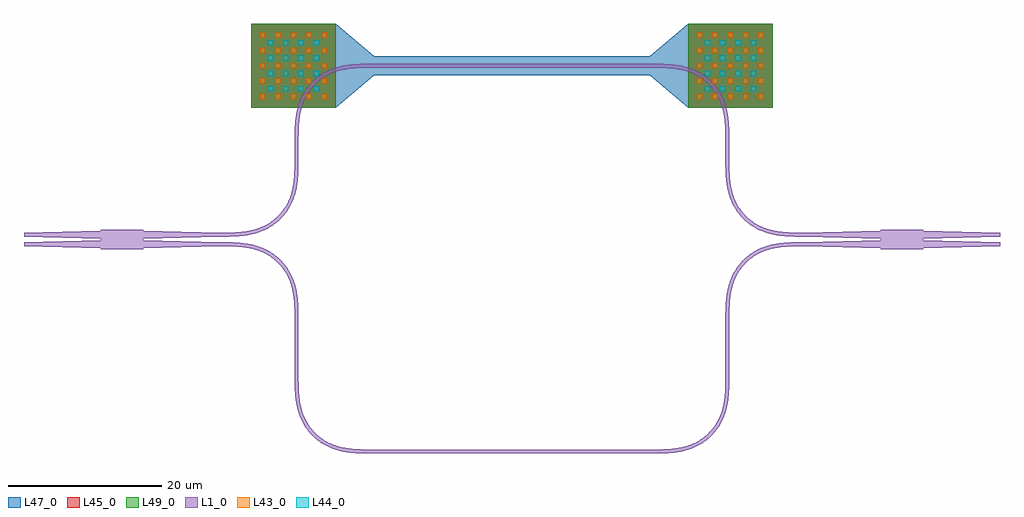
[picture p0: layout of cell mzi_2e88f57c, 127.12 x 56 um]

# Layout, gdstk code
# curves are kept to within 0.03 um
from math import pi, radians
import gdstk
lib = gdstk.Library(unit=1e-6, precision=1e-09)
def R(c, l, rs):  # rectangles x0, y0, x1, y1
    for r in rs: c.add(gdstk.rectangle(r[:2], r[2:], *l))
def P(c, l, *ps):  # polygons
    for p in ps: c.add(gdstk.Polygon(p, *l))
L1_0 = (1, 0)
L43_0 = (43, 0)
L44_0 = (44, 0)
L45_0 = (45, 0)
L47_0 = (47, 0)
L49_0 = (49, 0)

mmi2x2 = lib.new_cell('mmi2x2')
R(mmi2x2, L1_0, [(0,-1.25,5.5,1.25)])
P(mmi2x2, L1_0, [(-10,-0.375),(0,-0.125),(0,-1.125),(-10,-0.875)],
  [(-10,0.875),(0,1.125),(0,0.125),(-10,0.375)],
  [(15.5,0.375),(5.5,0.125),(5.5,1.125),(15.5,0.875)],
  [(15.5,-0.875),(5.5,-1.125),(5.5,-0.125),(15.5,-0.375)])

bend_euler = lib.new_cell('bend_euler')
P(bend_euler, L1_0, [(0,-0.25),(1.532,-0.235),(2.795,-0.158),(3.776,-0.023),(4.746,0.203),(5.688,0.543),(6.455,0.934),(7.285,1.5),(7.928,2.072),(8.5,2.715),(9.066,3.545),(9.457,4.312),(9.797,5.254),(10.023,6.224),(10.158,7.205),(10.235,8.468),(10.25,10),(9.75,10),(9.731,8.345),(9.647,7.119),(9.48,6.048),(9.194,5.01),(8.887,4.269),(8.495,3.569),(8.024,2.921),(7.575,2.425),(7.079,1.976),(6.431,1.505),(5.731,1.113),(4.99,0.806),(3.952,0.52),(2.881,0.353),(1.655,0.269),(0,0.25)])

straight_length7p0 = lib.new_cell('straight_length7p0')
R(straight_length7p0, L1_0, [(0,-0.25,7,0.25)])

straight_length0p1 = lib.new_cell('straight_length0p1')
R(straight_length0p1, L1_0, [(0,-0.25,0.1,0.25)])

straight_length2p0 = lib.new_cell('straight_length2p0')
R(straight_length2p0, L1_0, [(0,-0.25,2,0.25)])

straight_add_pinsfalse_l = lib.new_cell('straight_add_pinsFalse_length0p1')
R(straight_add_pinsfalse_l, L1_0, [(0,-0.25,0.1,0.25)])

straight_6e0386c1 = lib.new_cell('straight_6e0386c1')
R(straight_6e0386c1, L1_0, [(0,-0.25,17.95,0.25)])
R(straight_6e0386c1, L47_0, [(0,-1.25,17.95,1.25)])

component_sequence_afa0a = lib.new_cell('component_sequence_afa0a7fe')
component_sequence_afa0a.add(gdstk.Reference(straight_add_pinsfalse_l, (0,0)))
component_sequence_afa0a.add(gdstk.Reference(straight_6e0386c1, (0.1,0)))
component_sequence_afa0a.add(gdstk.Reference(straight_6e0386c1, (18.05,0)))
component_sequence_afa0a.add(gdstk.Reference(straight_add_pinsfalse_l, (36,0)))

compass_d8224c77 = lib.new_cell('compass_d8224c77')
R(compass_d8224c77, L47_0, [(-5.5,-5.5,5.5,5.5)])

compass_layerm2_size11p0 = lib.new_cell('compass_layerM2_size11p0__11p0')
R(compass_layerm2_size11p0, L45_0, [(-5.5,-5.5,5.5,5.5)])

compass_layermtop_size11 = lib.new_cell('compass_layerMTOP_size11p0__11p0')
R(compass_layermtop_size11, L49_0, [(-5.5,-5.5,5.5,5.5)])

via_enclosure2_layervia1 = lib.new_cell('via_enclosure2_layerVIA1')
R(via_enclosure2_layervia1, L44_0, [(-0.35,-0.35,0.35,0.35)])

via_layervia2 = lib.new_cell('via_layerVIA2')
R(via_layervia2, L43_0, [(-0.35,-0.35,0.35,0.35)])

via_stack_64ed2af4 = lib.new_cell('via_stack_64ed2af4')
via_stack_64ed2af4.add(gdstk.Reference(compass_d8224c77, (0,0)))
via_stack_64ed2af4.add(gdstk.Reference(compass_layerm2_size11p0, (0,0)))
via_stack_64ed2af4.add(gdstk.Reference(compass_layermtop_size11, (0,0)))
r = gdstk.Reference(via_enclosure2_layervia1, (-3,-3)); r.repetition = gdstk.Repetition(4, 4, v1=(2,0), v2=(0,2)); via_stack_64ed2af4.add(r)
r = gdstk.Reference(via_layervia2, (-4,-4)); r.repetition = gdstk.Repetition(5, 5, v1=(2,0), v2=(0,2)); via_stack_64ed2af4.add(r)

taper_23f5216f = lib.new_cell('taper_23f5216f')
P(taper_23f5216f, L47_0, [(0,5.5),(5,1.25),(5,-1.25),(0,-5.5)])

straight_heater_metal_un = lib.new_cell('straight_heater_metal_undercut_7c702180')
straight_heater_metal_un.add(gdstk.Reference(component_sequence_afa0a, (0,0)))
straight_heater_metal_un.add(gdstk.Reference(via_stack_64ed2af4, (-10.4,0)))
straight_heater_metal_un.add(gdstk.Reference(via_stack_64ed2af4, (46.5,0)))
straight_heater_metal_un.add(gdstk.Reference(taper_23f5216f, (-4.9,0)))
straight_heater_metal_un.add(gdstk.Reference(taper_23f5216f, (41,0), rotation=pi))

bend_euler_40ab4dd3 = lib.new_cell('bend_euler_40ab4dd3')
P(bend_euler_40ab4dd3, L1_0, [(0,-0.25),(1.532,-0.235),(2.795,-0.158),(3.776,-0.023),(4.746,0.203),(5.688,0.543),(6.455,0.934),(7.285,1.5),(7.928,2.072),(8.5,2.715),(9.066,3.545),(9.457,4.312),(9.797,5.254),(10.023,6.224),(10.158,7.205),(10.235,8.468),(10.25,10),(9.75,10),(9.731,8.345),(9.647,7.119),(9.48,6.048),(9.194,5.01),(8.887,4.269),(8.495,3.569),(8.024,2.921),(7.575,2.425),(7.079,1.976),(6.431,1.505),(5.731,1.113),(4.99,0.806),(3.952,0.52),(2.881,0.353),(1.655,0.269),(0,0.25)])

straight_e8b67d3c = lib.new_cell('straight_e8b67d3c')
R(straight_e8b67d3c, L1_0, [(0,-0.25,0.01,0.25)])

straight_299cef3a = lib.new_cell('straight_299cef3a')
R(straight_299cef3a, L1_0, [(0,-0.25,2,0.25)])

straight_840df451 = lib.new_cell('straight_840df451')
R(straight_840df451, L1_0, [(0,-0.25,36.01,0.25)])

straight_533918dc = lib.new_cell('straight_533918dc')
R(straight_533918dc, L1_0, [(0,-0.25,7,0.25)])

mzi_2e88f57c = lib.new_cell('mzi_2e88f57c')
mzi_2e88f57c.add(gdstk.Reference(mmi2x2, (0,0)))
mzi_2e88f57c.add(gdstk.Reference(mmi2x2, (107.12,0), rotation=pi, x_reflection=True))
mzi_2e88f57c.add(gdstk.Reference(bend_euler, (15.5,-0.625), x_reflection=True))
mzi_2e88f57c.add(gdstk.Reference(straight_length7p0, (25.5,-10.625), rotation=3*pi/2))
mzi_2e88f57c.add(gdstk.Reference(bend_euler, (25.5,-17.625), rotation=3*pi/2))
mzi_2e88f57c.add(gdstk.Reference(straight_length0p1, (35.5,-27.625)))
mzi_2e88f57c.add(gdstk.Reference(bend_euler, (15.5,0.625)))
mzi_2e88f57c.add(gdstk.Reference(straight_length2p0, (25.5,10.625), rotation=pi/2))
mzi_2e88f57c.add(gdstk.Reference(bend_euler, (35.5,22.625), rotation=pi))
mzi_2e88f57c.add(gdstk.Reference(straight_heater_metal_un, (35.5,22.625)))
mzi_2e88f57c.add(gdstk.Reference(bend_euler_40ab4dd3, (71.61,22.625), x_reflection=True))
mzi_2e88f57c.add(gdstk.Reference(bend_euler_40ab4dd3, (81.61,10.625), rotation=3*pi/2))
mzi_2e88f57c.add(gdstk.Reference(straight_e8b67d3c, (71.6,22.625)))
mzi_2e88f57c.add(gdstk.Reference(straight_299cef3a, (81.61,12.625), rotation=3*pi/2))
mzi_2e88f57c.add(gdstk.Reference(straight_e8b67d3c, (91.61,0.625)))
mzi_2e88f57c.add(gdstk.Reference(bend_euler_40ab4dd3, (71.61,-27.625)))
mzi_2e88f57c.add(gdstk.Reference(bend_euler_40ab4dd3, (81.61,-10.625), rotation=pi/2, x_reflection=True))
mzi_2e88f57c.add(gdstk.Reference(straight_840df451, (35.6,-27.625)))
mzi_2e88f57c.add(gdstk.Reference(straight_533918dc, (81.61,-17.625), rotation=pi/2))
mzi_2e88f57c.add(gdstk.Reference(straight_e8b67d3c, (91.61,-0.625)))

lib.write_gds('mzi_2e88f57c.gds')
